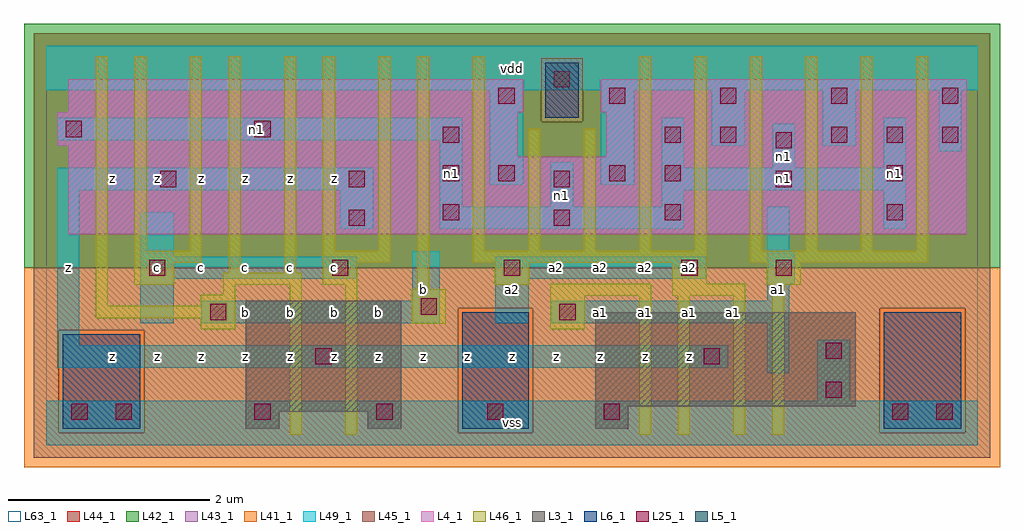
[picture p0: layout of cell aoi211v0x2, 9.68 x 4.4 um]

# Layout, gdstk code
import gdstk
lib = gdstk.Library(unit=1e-6, precision=1e-09)
def R(c, l, rs):  # rectangles x0, y0, x1, y1
    for r in rs: c.add(gdstk.rectangle(r[:2], r[2:], *l))
def A(c, l, x, y, w, h, nx, ny, dx, dy):  # array of equal rectangles
    R(c, l, [(x+i*dx, y+j*dy, x+i*dx+w, y+j*dy+h) for i in range(nx) for j in range(ny)])
L3_1 = (3, 1)
L4_1 = (4, 1)
L5_1 = (5, 1)
L6_1 = (6, 1)
L25_1 = (25, 1)
L41_1 = (41, 1)
L42_1 = (42, 1)
L43_1 = (43, 1)
L44_1 = (44, 1)
L45_1 = (45, 1)
L46_1 = (46, 1)
L49_1 = (49, 1)
L63_1 = (63, 1)

aoi211v0x2 = lib.new_cell('aoi211v0x2')
R(aoi211v0x2, L3_1, [(1.98,0.165,2.31,0.33), (3.19,0.165,3.52,0.33), (5.445,0.165,5.775,0.385), (1.98,0.33,3.52,1.43), (5.445,0.385,8.03,1.32)])
R(aoi211v0x2, L4_1, [(0.22,2.09,9.13,2.86), (0.22,2.86,4.675,2.97), (5.555,2.86,9.13,3.3), (0.11,2.97,4.675,3.3), (0.22,3.3,4.73,3.63), (5.5,3.3,9.13,3.63)])
R(aoi211v0x2, L5_1, [(4.95,3.245,5.28,3.795)])
R(aoi211v0x2, L6_1, [(0.165,0.165,0.935,1.1), (4.125,0.165,4.785,1.32), (8.305,0.165,9.075,1.32)])
A(aoi211v0x2, L25_1, 3.935, 2.23, 0.16, 0.16, 3, 1, 2.2, 0)
A(aoi211v0x2, L25_1, 7.785, 3, 0.16, 0.16, 3, 1, 0.55, 0)
A(aoi211v0x2, L25_1, 4.485, 3.385, 0.16, 0.16, 5, 1, 1.1, 0)
R(aoi211v0x2, L25_1, [(0.25,0.25,0.41,0.41), (0.69,0.25,0.85,0.41), (2.065,0.25,2.225,0.41), (3.275,0.25,3.435,0.41), (4.375,0.25,4.535,0.41), (5.53,0.25,5.69,0.41), (8.39,0.25,8.55,0.41), (8.83,0.25,8.99,0.41), (7.73,0.47,7.89,0.63), (2.67,0.8,2.83,0.96), (6.52,0.8,6.68,0.96), (7.73,0.855,7.89,1.015), (1.625,1.24,1.785,1.4), (5.09,1.24,5.25,1.4), (3.715,1.295,3.875,1.455), (1.02,1.68,1.18,1.84), (2.835,1.68,2.995,1.84), (4.54,1.68,4.7,1.84), (6.3,1.68,6.46,1.84), (7.235,1.68,7.395,1.84), (3,2.175,3.16,2.335), (5.035,2.175,5.195,2.335), (1.13,2.56,1.29,2.72), (3,2.56,3.16,2.72), (5.035,2.56,5.195,2.72), (7.235,2.56,7.395,2.72), (3.935,2.615,4.095,2.775), (4.485,2.615,4.645,2.775), (5.585,2.615,5.745,2.775), (6.135,2.615,6.295,2.775), (8.335,2.615,8.495,2.775), (7.235,2.945,7.395,3.105), (3.935,3,4.095,3.16), (6.135,3,6.295,3.16), (6.685,3,6.845,3.16), (0.195,3.055,0.355,3.215), (2.065,3.055,2.225,3.215), (5.035,3.55,5.195,3.71)])
R(aoi211v0x2, L41_1, [(-0.22,-0.22,9.46,1.76)])
R(aoi211v0x2, L42_1, [(-0.22,1.76,9.46,4.18)])
R(aoi211v0x2, L43_1, [(0.165,0.165,0.935,1.1), (1.98,0.165,2.31,0.33), (3.19,0.165,3.52,0.33), (4.125,0.165,4.785,1.32), (5.445,0.165,5.775,0.385), (8.305,0.165,9.075,1.32), (1.98,0.33,3.52,1.43), (5.445,0.385,8.03,1.32), (0.22,2.09,9.13,2.86), (0.22,2.86,4.675,2.97), (5.555,2.86,9.13,3.3), (0.11,2.97,4.675,3.3), (4.95,3.245,5.28,3.795), (0.22,3.3,4.73,3.63), (5.5,3.3,9.13,3.63)])
R(aoi211v0x2, L44_1, [(0.125,0.125,0.975,1.14), (4.085,0.125,4.825,1.36), (8.265,0.125,9.115,1.36), (-0.125,1.76,9.365,3.205), (-0.125,3.205,4.91,3.835), (5.32,3.205,9.365,3.835), (-0.125,3.835,9.365,4.085)])
R(aoi211v0x2, L45_1, [(-0.125,-0.125,9.365,0.125), (-0.125,0.125,0.125,1.14), (0.975,0.125,4.085,1.14), (4.825,0.125,8.265,1.36), (9.115,0.125,9.365,1.36), (-0.125,1.14,4.085,1.36), (-0.125,1.36,9.365,1.76), (4.91,3.205,5.32,3.835)])
A(aoi211v0x2, L46_1, 5.88, 1.93, 0.12, 1.925, 6, 1, 0.55, 0)
R(aoi211v0x2, L46_1, [(2.415,0.105,2.535,1.59), (2.965,0.105,3.085,1.59), (5.88,0.105,6,1.48), (6.265,0.105,6.385,1.48), (6.815,0.105,6.935,1.48), (7.2,0.105,7.32,1.59), (1.535,1.15,1.875,1.26), (5,1.15,5.34,1.48), (3.625,1.205,3.965,1.545), (0.49,1.26,1.875,1.38), (0.49,1.38,0.61,3.855), (1.535,1.38,1.875,1.49), (5,1.48,6,1.6), (6.21,1.48,6.935,1.6), (1.755,1.49,1.875,1.59), (3.68,1.545,3.8,3.855), (0.875,1.59,1.27,1.81), (1.755,1.59,2.535,1.71), (2.745,1.59,3.085,1.81), (4.45,1.59,4.79,1.81), (7.145,1.59,7.485,1.81), (6.21,1.6,6.55,1.81), (1.81,1.71,1.93,3.855), (2.36,1.71,2.48,3.855), (0.875,1.81,1.545,1.93), (2.745,1.81,3.415,1.93), (4.23,1.81,6.55,1.93), (6.98,1.81,8.75,1.93), (0.875,1.93,0.995,3.855), (1.425,1.93,1.545,3.855), (2.745,1.93,2.865,3.855), (3.295,1.93,3.415,3.855), (4.23,1.93,4.35,3.855), (4.78,1.93,4.9,3.14), (5.33,1.93,5.45,3.14)])
R(aoi211v0x2, L49_1, [(0,0,9.24,0.44), (7.645,0.44,7.975,1.045), (7.15,0.715,7.37,1.21), (0.11,0.77,6.765,0.99), (0.11,0.99,0.33,2.53), (0.935,1.21,1.265,1.65), (1.54,1.21,3.905,1.43), (4.455,1.21,4.785,1.65), (5.005,1.21,7.37,1.43), (3.63,1.43,3.905,1.925), (7.15,1.43,7.37,1.595), (7.15,1.595,7.425,1.925), (0.935,1.65,3.08,1.87), (4.455,1.65,6.545,1.87), (0.935,1.87,1.265,2.31), (7.15,1.925,7.37,2.365), (2.915,2.145,3.245,2.53), (3.905,2.145,6.325,2.365), (8.305,2.145,8.525,2.53), (3.905,2.365,4.125,3.025), (5.005,2.365,5.225,2.805), (6.105,2.365,6.325,2.53), (0.11,2.53,3.245,2.75), (6.105,2.53,8.525,2.75), (4.4,2.585,4.73,3.52), (5.5,2.585,5.83,3.52), (6.105,2.75,6.325,3.245), (7.205,2.75,7.425,3.19), (8.305,2.75,8.525,3.245), (8.855,2.915,9.075,3.52), (6.6,2.97,6.93,3.52), (7.7,2.97,8.03,3.52), (0.11,3.025,4.125,3.245), (0,3.52,9.24,3.96)])
R(aoi211v0x2, L63_1, [(0,0,9.24,3.96)])
aoi211v0x2.add(gdstk.Label('z', (1.54,0.88), layer=49, texttype=1))
aoi211v0x2.add(gdstk.Label('z', (1.1,0.88), layer=49, texttype=1))
aoi211v0x2.add(gdstk.Label('z', (0.66,0.88), layer=49, texttype=1))
aoi211v0x2.add(gdstk.Label('z', (0.22,1.76), layer=49, texttype=1))
aoi211v0x2.add(gdstk.Label('c', (1.54,1.76), layer=49, texttype=1))
aoi211v0x2.add(gdstk.Label('c', (1.1,1.76), layer=49, texttype=1))
aoi211v0x2.add(gdstk.Label('z', (1.54,2.64), layer=49, texttype=1))
aoi211v0x2.add(gdstk.Label('z', (1.1,2.64), layer=49, texttype=1))
aoi211v0x2.add(gdstk.Label('z', (0.66,2.64), layer=49, texttype=1))
aoi211v0x2.add(gdstk.Label('z', (3.3,0.88), layer=49, texttype=1))
aoi211v0x2.add(gdstk.Label('z', (2.86,0.88), layer=49, texttype=1))
aoi211v0x2.add(gdstk.Label('z', (2.42,0.88), layer=49, texttype=1))
aoi211v0x2.add(gdstk.Label('z', (1.98,0.88), layer=49, texttype=1))
aoi211v0x2.add(gdstk.Label('b', (3.3,1.32), layer=49, texttype=1))
aoi211v0x2.add(gdstk.Label('b', (2.86,1.32), layer=49, texttype=1))
aoi211v0x2.add(gdstk.Label('b', (2.42,1.32), layer=49, texttype=1))
aoi211v0x2.add(gdstk.Label('b', (1.98,1.32), layer=49, texttype=1))
aoi211v0x2.add(gdstk.Label('c', (2.86,1.76), layer=49, texttype=1))
aoi211v0x2.add(gdstk.Label('c', (2.42,1.76), layer=49, texttype=1))
aoi211v0x2.add(gdstk.Label('c', (1.98,1.76), layer=49, texttype=1))
aoi211v0x2.add(gdstk.Label('z', (2.86,2.64), layer=49, texttype=1))
aoi211v0x2.add(gdstk.Label('z', (2.42,2.64), layer=49, texttype=1))
aoi211v0x2.add(gdstk.Label('z', (1.98,2.64), layer=49, texttype=1))
aoi211v0x2.add(gdstk.Label('vss', (4.62,0.22), layer=49, texttype=1))
aoi211v0x2.add(gdstk.Label('z', (5.06,0.88), layer=49, texttype=1))
aoi211v0x2.add(gdstk.Label('z', (4.62,0.88), layer=49, texttype=1))
aoi211v0x2.add(gdstk.Label('z', (4.18,0.88), layer=49, texttype=1))
aoi211v0x2.add(gdstk.Label('z', (3.74,0.88), layer=49, texttype=1))
aoi211v0x2.add(gdstk.Label('a2', (5.06,1.76), layer=49, texttype=1))
aoi211v0x2.add(gdstk.Label('a2', (4.62,1.54), layer=49, texttype=1))
aoi211v0x2.add(gdstk.Label('b', (3.74,1.54), layer=49, texttype=1))
aoi211v0x2.add(gdstk.Label('n1', (5.115,2.475), layer=49, texttype=1))
aoi211v0x2.add(gdstk.Label('n1', (2.09,3.135), layer=49, texttype=1))
aoi211v0x2.add(gdstk.Label('n1', (4.015,2.695), layer=49, texttype=1))
aoi211v0x2.add(gdstk.Label('vdd', (4.62,3.74), layer=49, texttype=1))
aoi211v0x2.add(gdstk.Label('z', (6.38,0.88), layer=49, texttype=1))
aoi211v0x2.add(gdstk.Label('z', (5.94,0.88), layer=49, texttype=1))
aoi211v0x2.add(gdstk.Label('z', (5.5,0.88), layer=49, texttype=1))
aoi211v0x2.add(gdstk.Label('a1', (5.5,1.32), layer=49, texttype=1))
aoi211v0x2.add(gdstk.Label('a1', (6.82,1.32), layer=49, texttype=1))
aoi211v0x2.add(gdstk.Label('a1', (6.38,1.32), layer=49, texttype=1))
aoi211v0x2.add(gdstk.Label('a1', (5.94,1.32), layer=49, texttype=1))
aoi211v0x2.add(gdstk.Label('a2', (6.38,1.76), layer=49, texttype=1))
aoi211v0x2.add(gdstk.Label('a2', (5.94,1.76), layer=49, texttype=1))
aoi211v0x2.add(gdstk.Label('a1', (7.26,1.54), layer=49, texttype=1))
aoi211v0x2.add(gdstk.Label('a2', (5.5,1.76), layer=49, texttype=1))
aoi211v0x2.add(gdstk.Label('n1', (7.315,2.64), layer=49, texttype=1))
aoi211v0x2.add(gdstk.Label('n1', (7.315,2.86), layer=49, texttype=1))
aoi211v0x2.add(gdstk.Label('n1', (8.415,2.695), layer=49, texttype=1))

lib.write_gds('aoi211v0x2.gds')
